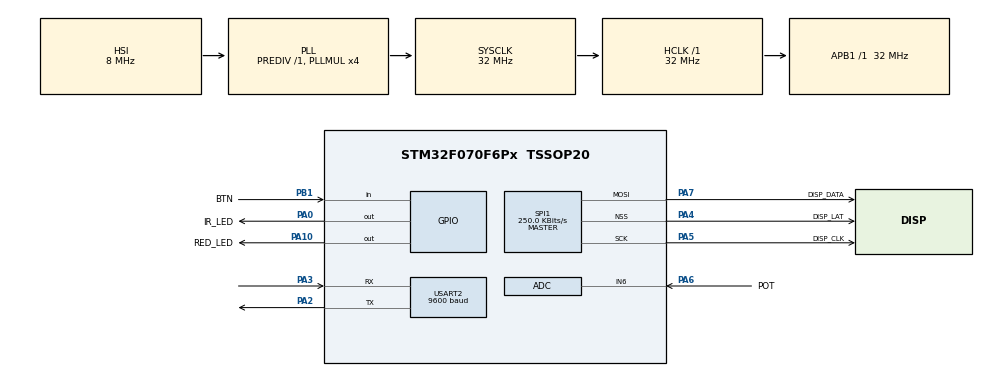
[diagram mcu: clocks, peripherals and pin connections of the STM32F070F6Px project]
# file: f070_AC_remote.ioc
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ADC.EOCSelection=ADC_EOC_SINGLE_CONV
Mcu.Family=STM32F0
Mcu.Name=STM32F070F6Px
Mcu.Package=TSSOP20
NVIC.TIM1_BRK_UP_TRG_COM_IRQn=true\:0\:0\:false\:false\:true\:true\:true\:true
NVIC.USART2_IRQn=true\:0\:0\:false\:false\:true\:true\:true\:true
PA0.GPIO_Label=IR_LED
PA0.Signal=GPIO_Output
PA10.GPIO_Label=RED_LED
PA10.Signal=GPIO_Output
PA13.Mode=Serial_Wire
PA13.Signal=SYS_SWDIO
PA14.Mode=Serial_Wire
PA14.Signal=SYS_SWCLK
PA2.Mode=Asynchronous
PA2.Signal=USART2_TX
PA3.Mode=Asynchronous
PA3.Signal=USART2_RX
PA4.GPIO_Label=DISP_LAT
PA4.Mode=NSS_Signal_Hard_Output
PA4.Signal=SPI1_NSS
PA5.GPIO_Label=DISP_CLK
PA5.Mode=TX_Only_Simplex_Unidirect_Master
PA5.Signal=SPI1_SCK
PA6.GPIO_Label=POT
PA6.Mode=IN6
PA6.Signal=ADC_IN6
PA7.GPIO_Label=DISP_DATA
PA7.Mode=TX_Only_Simplex_Unidirect_Master
PA7.Signal=SPI1_MOSI
PB1.GPIO_Label=BTN
PB1.Signal=GPIO_Input
ProjectManager.HeapSize=0x200
ProjectManager.StackSize=0x400
ProjectManager.TargetToolchain=STM32CubeIDE
RCC.AHBFreq_Value=32000000
RCC.APB1Freq_Value=32000000
RCC.APB1TimFreq_Value=32000000
RCC.HCLKFreq_Value=32000000
RCC.PLLMUL=RCC_PLL_MUL4
RCC.SYSCLKFreq_VALUE=32000000
RCC.SYSCLKSource=RCC_SYSCLKSOURCE_PLLCLK
SPI1.BaudRatePrescaler=SPI_BAUDRATEPRESCALER_128
SPI1.CalculateBaudRate=250.0 KBits/s
SPI1.DataSize=SPI_DATASIZE_16BIT
SPI1.Direction=SPI_DIRECTION_2LINES
SPI1.Mode=SPI_MODE_MASTER
SPI1.VirtualNSS=VM_NSSHARD
SPI1.VirtualType=VM_MASTER
TIM1.AutoReloadPreload=TIM_AUTORELOAD_PRELOAD_ENABLE
TIM1.Period=421
USART2.BaudRate=9600
USART2.VirtualMode-Asynchronous=VM_ASYNC
VP_TIM1_VS_ClockSourceINT.Mode=Internal
board=custom

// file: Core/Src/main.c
/* USER CODE BEGIN Header */
/**
 ******************************************************************************
 * @file           : main.c
 * @brief          : Main program body
 ******************************************************************************
 * @attention
 *
 * Copyright (c) 2025 STMicroelectronics.
 * All rights reserved.
 *
 * This software is licensed under terms that can be found in the LICENSE file
 * in the root directory of this software component.
 * If no LICENSE file comes with this software, it is provided AS-IS.
 *
 ******************************************************************************
 */
/* USER CODE END Header */
#include "main.h"
#include "adc.h"
#include "spi.h"
#include "tim.h"
#include "usart.h"
#include "gpio.h"

/* USER CODE BEGIN Includes */
#include <stdio.h>
#include <math.h>

#include "display.h"
#include "midea_ir.h"
/* USER CODE END Includes */

/* USER CODE BEGIN PV */

MideaIR ir;

/* USER CODE END PV */

void SystemClock_Config(void);

int main(void)
{

  /* MCU Configuration--------------------------------------------------------*/

  /* Reset of all peripherals, Initializes the Flash interface and the Systick. */
  HAL_Init();

  /* Configure the system clock */
  SystemClock_Config();

  /* Initialize all configured peripherals */
  MX_GPIO_Init();
  MX_ADC_Init();
  MX_SPI1_Init();
  MX_TIM1_Init();
  MX_USART2_UART_Init();
  /* USER CODE BEGIN 2 */

  midea_ir_init(&ir);
  DisplayOff();
  /* USER CODE END 2 */

  /* Infinite loop */
  while (1)
  {

    /* USER CODE BEGIN 3 */

    uint16_t adc_val = 0;
    HAL_ADC_Start(&hadc);
    HAL_ADC_PollForConversion(&hadc, HAL_MAX_DELAY);
    adc_val = HAL_ADC_GetValue(&hadc);

    uint16_t target_temp = (adc_val / 160) + TEMP_LOW;
    bool state = true; // on

    if (target_temp > TEMP_HIGH)
    {
      target_temp = TEMP_HIGH;
      state = false;
    }
    else if (target_temp < TEMP_LOW)
    {
      target_temp = TEMP_LOW;
    }

    if (state == true)
    {
      DisplayDecimal(target_temp);
    }
    else
    {
      DisplayHex(0x0F); // as OFF
    }

    /*uint8_t data[6];
    uint16_t pows[4] = {1000, 100, 10, 1};
    for(int i=0; i<4 ;i++){
      data[i] = (adc_val / pows[i]) + '0';
      adc_val = adc_val % pows[i];
    }
    data[4] = '\r';
    data[5] = '\n';
    HAL_UART_Transmit(&huart2, data, 6, HAL_MAX_DELAY);*/

    ir.enabled = state;
    ir.mode = MODE_AUTO;
    ir.fan_level = 2;
    ir.temperature = target_temp;

    if (HAL_GPIO_ReadPin(SW_GPIO_Port, SW_Pin) == GPIO_PIN_RESET)
    {
      HAL_GPIO_WritePin(RED_LED_GPIO_Port, RED_LED_Pin, GPIO_PIN_SET);
      midea_ir_send(&ir);
      HAL_Delay(500);
    }
    else
    {
      HAL_GPIO_WritePin(RED_LED_GPIO_Port, RED_LED_Pin, GPIO_PIN_RESET);
    }

    HAL_Delay(100);
  }
  /* USER CODE END 3 */
}

void SystemClock_Config(void)
{
  RCC_OscInitTypeDef RCC_OscInitStruct = {0};
  RCC_ClkInitTypeDef RCC_ClkInitStruct = {0};

  /** Initializes the RCC Oscillators according to the specified parameters
   * in the RCC_OscInitTypeDef structure.
   */
  RCC_OscInitStruct.OscillatorType = RCC_OSCILLATORTYPE_HSI | RCC_OSCILLATORTYPE_HSI14;
  RCC_OscInitStruct.HSIState = RCC_HSI_ON;
  RCC_OscInitStruct.HSI14State = RCC_HSI14_ON;
  RCC_OscInitStruct.HSICalibrationValue = RCC_HSICALIBRATION_DEFAULT;
  RCC_OscInitStruct.HSI14CalibrationValue = 16;
  RCC_OscInitStruct.PLL.PLLState = RCC_PLL_ON;
  RCC_OscInitStruct.PLL.PLLSource = RCC_PLLSOURCE_HSI;
  RCC_OscInitStruct.PLL.PLLMUL = RCC_PLL_MUL4;
  RCC_OscInitStruct.PLL.PREDIV = RCC_PREDIV_DIV1;
  if (HAL_RCC_OscConfig(&RCC_OscInitStruct) != HAL_OK)
  {
    Error_Handler();
  }

  /** Initializes the CPU, AHB and APB buses clocks
   */
  RCC_ClkInitStruct.ClockType = RCC_CLOCKTYPE_HCLK | RCC_CLOCKTYPE_SYSCLK | RCC_CLOCKTYPE_PCLK1;
  RCC_ClkInitStruct.SYSCLKSource = RCC_SYSCLKSOURCE_PLLCLK;
  RCC_ClkInitStruct.AHBCLKDivider = RCC_SYSCLK_DIV1;
  RCC_ClkInitStruct.APB1CLKDivider = RCC_HCLK_DIV1;

  if (HAL_RCC_ClockConfig(&RCC_ClkInitStruct, FLASH_LATENCY_1) != HAL_OK)
  {
    Error_Handler();
  }
}

/* USER CODE BEGIN 4 */
int __io_putchar(int ch)
{
  HAL_UART_Transmit(&huart2, (uint8_t *)&ch, 1, 0xFFFF);
  return ch;
}
/* USER CODE END 4 */

void Error_Handler(void)
{
  __disable_irq();
  while (1)
  {
  }
}
